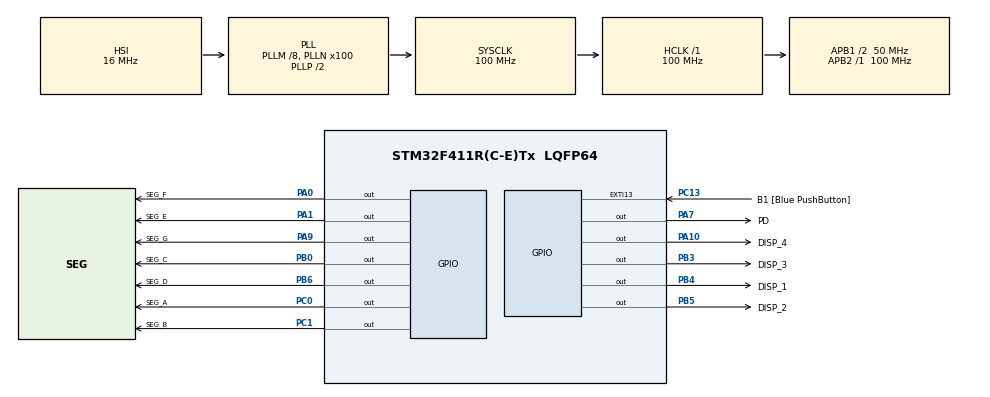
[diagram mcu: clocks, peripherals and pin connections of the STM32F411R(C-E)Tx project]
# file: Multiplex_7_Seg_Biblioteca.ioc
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Mcu.Family=STM32F4
Mcu.Name=STM32F411R(C-E)Tx
Mcu.Package=LQFP64
NVIC.PriorityGroup=NVIC_PRIORITYGROUP_0
PA0-WKUP.GPIO_Label=SEG_F
PA0-WKUP.Signal=GPIO_Output
PA1.GPIO_Label=SEG_E
PA1.Signal=GPIO_Output
PA10.GPIO_Label=DISP_4
PA10.Signal=GPIO_Output
PA13.GPIO_Label=TMS
PA13.Mode=Serial_Wire
PA13.Signal=SYS_JTMS-SWDIO
PA14.GPIO_Label=TCK
PA14.Mode=Serial_Wire
PA14.Signal=SYS_JTCK-SWCLK
PA7.GPIO_Label=PD
PA7.Signal=GPIO_Output
PA9.GPIO_Label=SEG_G
PA9.Signal=GPIO_Output
PB0.GPIO_Label=SEG_C
PB0.Signal=GPIO_Output
PB3.GPIO_Label=DISP_3
PB3.Signal=GPIO_Output
PB4.GPIO_Label=DISP_1
PB4.Signal=GPIO_Output
PB5.GPIO_Label=DISP_2
PB5.Signal=GPIO_Output
PB6.GPIO_Label=SEG_D
PB6.Signal=GPIO_Output
PC0.GPIO_Label=SEG_A
PC0.Signal=GPIO_Output
PC1.GPIO_Label=SEG_B
PC1.Signal=GPIO_Output
PC13-ANTI_TAMP.GPIO_Label=B1 [Blue PushButton]
PC13-ANTI_TAMP.GPIO_ModeDefaultEXTI=GPIO_MODE_IT_FALLING
PC13-ANTI_TAMP.Signal=GPXTI13
PC14-OSC32_IN.Mode=LSE-External-Oscillator
PC14-OSC32_IN.Signal=RCC_OSC32_IN
PC15-OSC32_OUT.Mode=LSE-External-Oscillator
PC15-OSC32_OUT.Signal=RCC_OSC32_OUT
PH0\ -\ OSC_IN.Mode=HSE-External-Clock-Source
PH0\ -\ OSC_IN.Signal=RCC_OSC_IN
PH1\ -\ OSC_OUT.Mode=HSE-External-Clock-Source
PH1\ -\ OSC_OUT.Signal=RCC_OSC_OUT
ProjectManager.HeapSize=0x200
ProjectManager.StackSize=0x400
ProjectManager.TargetToolchain=STM32CubeIDE
RCC.48MHZClocksFreq_Value=50000000
RCC.AHBFreq_Value=100000000
RCC.APB1CLKDivider=RCC_HCLK_DIV2
RCC.APB1Freq_Value=50000000
RCC.APB1TimFreq_Value=100000000
RCC.APB2Freq_Value=100000000
RCC.APB2TimFreq_Value=100000000
RCC.CortexFreq_Value=100000000
RCC.FLatency-AdvancedSettings=FLASH_LATENCY_3
RCC.HCLKFreq_Value=100000000
RCC.HSE_VALUE=8000000
RCC.HSI_VALUE=16000000
RCC.PLLM=8
RCC.PLLN=100
RCC.SYSCLKFreq_VALUE=100000000
RCC.SYSCLKSource=RCC_SYSCLKSOURCE_PLLCLK
RCC.VCOOutputFreq_Value=200000000
board=NUCLEO-F411RE

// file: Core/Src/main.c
/* USER CODE BEGIN Header */
/**
  ******************************************************************************
  * @file           : main.c
  * @brief          : Main program body
  ******************************************************************************
  * @attention
  *
  * <h2><center>&copy; Copyright (c) 2020 STMicroelectronics.
  * All rights reserved.</center></h2>
  *
  * This software component is licensed by ST under BSD 3-Clause license,
  * the "License"; You may not use this file except in compliance with the
  * License. You may obtain a copy of the License at:
  *                        opensource.org/licenses/BSD-3-Clause
  *
  ******************************************************************************
  */
/* USER CODE END Header */

#include "main.h"
#include "gpio.h"

/* USER CODE BEGIN Includes */
#include "7_Seg_Library.h"

/* USER CODE END Includes */

void SystemClock_Config(void);

int main(void)
{

  /* MCU Configuration--------------------------------------------------------*/

  /* Reset of all peripherals, Initializes the Flash interface and the Systick. */
  HAL_Init();

  /* Configure the system clock */
  SystemClock_Config();

  /* Initialize all configured peripherals */
  MX_GPIO_Init();

  /* Infinite loop */
  /* USER CODE BEGIN WHILE */
  uint16_t number = 0;
  uint16_t count = 0;
  uint8_t digit = 1;
  while (1)
  {
	  count++;
	  showNumber(digit, number); // Seleciona o display e mostra o número

	  if(number > 9999 )// Se contador "number" alcançar o valor 9999,
	  {					// ele será zerado.
		  number = 0;
	  }

	  digit++;			// Contador dos dígitos
	  if(digit > 4)		// Se contador "dígistos" alcançar o valor 4,
	  {					// ele é reinicializado com o valor '1'
		  digit = 1;
	  }
	  HAL_Delay(1);		// Para uma melhor percepção dos números,
	  turnOffdisplay(); // desativa-se todos os leds por um intervalo
	  HAL_Delay(1);		// muito rápido, neste caso 1 milissegundo

	  if(count > 100)	// Realiza-se a contagem de 100 ms
	  {
		  number++;		// A cada 100 ms, number é incrementado em 1 unidade
		  count = 0;	// Zera-se o contador de tempo
	  }
    /* USER CODE END WHILE */

  }
}

void SystemClock_Config(void)
{
  RCC_OscInitTypeDef RCC_OscInitStruct = {0};
  RCC_ClkInitTypeDef RCC_ClkInitStruct = {0};

  /** Configure the main internal regulator output voltage
  */
  __HAL_RCC_PWR_CLK_ENABLE();
  __HAL_PWR_VOLTAGESCALING_CONFIG(PWR_REGULATOR_VOLTAGE_SCALE1);
  /** Initializes the CPU, AHB and APB busses clocks
  */
  RCC_OscInitStruct.OscillatorType = RCC_OSCILLATORTYPE_HSI;
  RCC_OscInitStruct.HSIState = RCC_HSI_ON;
  RCC_OscInitStruct.HSICalibrationValue = RCC_HSICALIBRATION_DEFAULT;
  RCC_OscInitStruct.PLL.PLLState = RCC_PLL_ON;
  RCC_OscInitStruct.PLL.PLLSource = RCC_PLLSOURCE_HSI;
  RCC_OscInitStruct.PLL.PLLM = 8;
  RCC_OscInitStruct.PLL.PLLN = 100;
  RCC_OscInitStruct.PLL.PLLP = RCC_PLLP_DIV2;
  RCC_OscInitStruct.PLL.PLLQ = 4;
  if (HAL_RCC_OscConfig(&RCC_OscInitStruct) != HAL_OK)
  {
    Error_Handler();
  }
  /** Initializes the CPU, AHB and APB busses clocks
  */
  RCC_ClkInitStruct.ClockType = RCC_CLOCKTYPE_HCLK|RCC_CLOCKTYPE_SYSCLK
                              |RCC_CLOCKTYPE_PCLK1|RCC_CLOCKTYPE_PCLK2;
  RCC_ClkInitStruct.SYSCLKSource = RCC_SYSCLKSOURCE_PLLCLK;
  RCC_ClkInitStruct.AHBCLKDivider = RCC_SYSCLK_DIV1;
  RCC_ClkInitStruct.APB1CLKDivider = RCC_HCLK_DIV2;
  RCC_ClkInitStruct.APB2CLKDivider = RCC_HCLK_DIV1;

  if (HAL_RCC_ClockConfig(&RCC_ClkInitStruct, FLASH_LATENCY_3) != HAL_OK)
  {
    Error_Handler();
  }
}

void Error_Handler(void)
{
}

/************************ (C) COPYRIGHT STMicroelectronics *****END OF FILE****/
